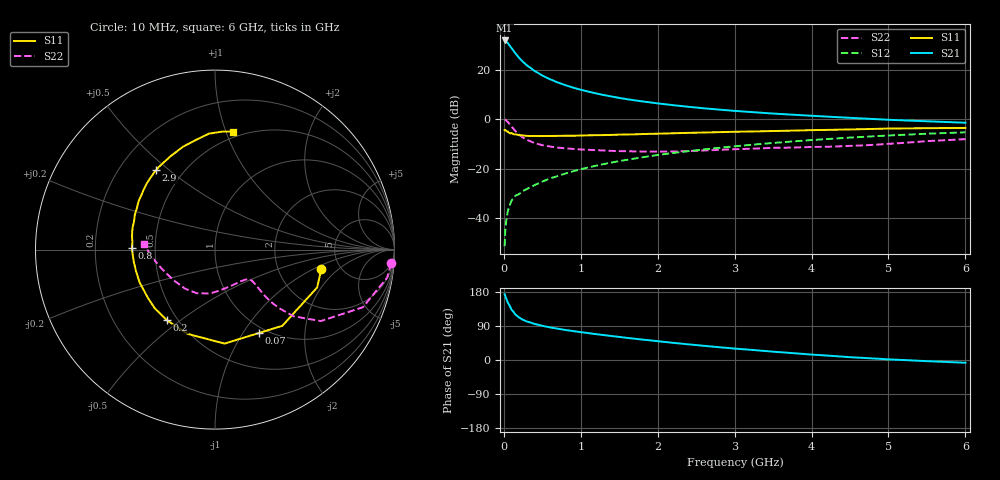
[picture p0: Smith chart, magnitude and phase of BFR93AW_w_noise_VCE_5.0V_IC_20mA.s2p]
! (c) 2017  Infineon Technologies AG, Munich
! Infineon Technologies  Discrete & RF Semiconductors
! BFR93AW
! VCE =  5.0 V,  IC =  20 mA
! Common Emitter S-Parameters:  Jan 2017
# GHz  S  MA  R  50
!  f  S11  S21  S12  S22
! GHz  MAG  ANG  MAG  ANG  MAG  ANG  MAG  ANG
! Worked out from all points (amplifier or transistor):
!   77 points, 10 MHz to 6 GHz, reference 50 ohm
!   highest |S21| = 31.9 dB at 10 MHz (marker M1)
!   |S21| within 3 dB of that: start of sweep to 98.16 MHz
!   unconditionally stable (mu >= 1): 677.1 MHz to 2.043 GHz
!   at 130 MHz: K = 0.44, MSG = 29.6 dB, |S12| = -31.7 dB
!   at 2.2 GHz: K = 0.99, MSG = 9.7 dB, |S12| = -13.7 dB
!   at 6 GHz: K = 0.87, MSG = 1.9 dB, |S12| = -5.3 dB
!   lowest NFmin = 1.52 dB at 450 MHz
!   S11 on the Smith chart (normalised r, x): 10 MHz: 3.58, -1.22; 70 MHz: 0.92, -1.19; 200 MHz: 0.44, -0.45; 800 MHz: 0.37, +0.01; 2.9 GHz: 0.36, +0.45; 6 GHz: 0.45, +1.06
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0.01  0.6022 -10.4  39.13 173.7  0.0027 84.6  0.9844 -4.5
0.02  0.6071 -20.3  38.94 168.1  0.0059 84.0  0.972 -9.3
0.05  0.5667 -48.5  35.07 151.9  0.0135 71.2  0.8842 -21.3
0.07  0.5256 -62.0  31.62 145.3  0.017 66.6  0.8101 -25.8
0.1  0.5264 -84.2  27.48 132.5  0.0224 62.5  0.7105 -34.1
0.15  0.4937 -108.2  21.49 120.1  0.0282 57.0  0.5743 -40.3
0.2  0.4762 -124.2  17.28 111.9  0.0308 57.2  0.4846 -42.4
0.25  0.4685 -135.9  14.38 105.9  0.0354 57.2  0.424 -43.1
0.3  0.4604 -144.4  12.24 101.6  0.0388 58.7  0.38 -42.9
0.4  0.4582 -156.3  9.443 95.0  0.0464 61.0  0.3286 -41.8
0.5  0.4562 -164.7  7.637 90.2  0.0546 63.1  0.2981 -40.8
0.6  0.4574 -171.2  6.432 86.1  0.0633 64.7  0.2797 -40.3
0.7  0.4593 -176.3  5.542 82.7  0.0708 66.3  0.2663 -40.1
0.8  0.4631 179.0  4.881 79.3  0.0795 67.4  0.2574 -40.6
1.1  0.4721 167.8  3.603 70.9  0.106 67.9  0.2401 -44.0
1.5  0.4872 156.5  2.695 60.9  0.1419 67.3  0.2263 -52.2
2.1  0.5133 142.2  2.002 47.5  0.1976 63.9  0.2214 -70.4
2.9  0.5515 126.4  1.516 32.0  0.2731 57.6  0.2434 -96.1
3.1  0.5596 122.5  1.436 28.6  0.292 55.7  0.2492 -101.9
4.1  0.6035 105.7  1.15 13.0  0.3875 45.8  0.2752 -131.2
5.1  0.6485 91.7  0.959 0.8  0.4757 34.6  0.3241 -164.1
6  0.666 81.1  0.848 -7.3  0.5434 24.3  0.3952 175.2
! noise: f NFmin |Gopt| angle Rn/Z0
0.45  1.52  0.14  161  0.15
0.9  1.8  0.23  175  0.15
1.9  2.8  0.48  -138  0.23
2.4  3.43  0.54  -126  0.45
